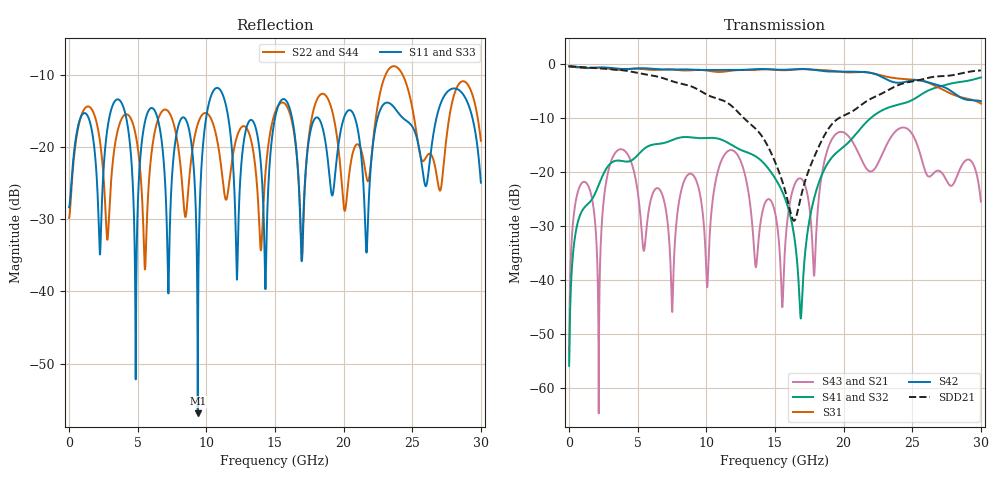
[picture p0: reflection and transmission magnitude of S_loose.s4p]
!diffpair-meanders S_loose (straight pair, 6 mm serpentine on P, folds 1.0 mm apart), mesh fine
!ports 1 P_near 2 N_near 3 P_far 4 N_far; openEMS FDTD, lumped 50 ohm ports
# Hz S RI R 50.0
! Port[1] = P_near
! Port[2] = N_near
! Port[3] = P_far
! Port[4] = N_far
!freq ReS11 ImS11 ReS12 ImS12 ReS13 ImS13
! ReS14 ImS14
! ReS21 ImS21 ReS22 ImS22 ReS23 ImS23
! ReS24 ImS24
! ReS31 ImS31 ReS32 ImS32 ReS33 ImS33
! ReS34 ImS34
! ReS41 ImS41 ReS42 ImS42 ReS43 ImS43
! ReS44 ImS44
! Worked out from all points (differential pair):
!   3000 points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, 10 MHz to 30 GHz, reference 50 ohm
!   strongest paths, dB at 10 MHz, 7.51 GHz, 15.01 GHz, 22.51 GHz, 30 GHz:
!     S42: -0.4, -1.0, -1.0, -2.1, -6.9
!     S31: -0.5, -1.0, -1.1, -2.0, -7.3
!     S41: -55.9, -14.1, -21.2, -9.0, -2.5
!     S32: -55.9, -14.1, -21.1, -9.0, -2.5
!     S43: -55.0, -45.9, -27.5, -18.4, -25.5
!     S21: -55.0, -45.9, -27.5, -18.4, -25.5
!   taken as a pair (ports 2,1 in; 4,3 out), SDD21 dB: -0.4, -3.2, -18.1, -5.8, -1.2
!   lowest |S11| = -56.9 dB at 9.38 GHz (marker M1), VSWR 1.00, Z = 50.1 + j0.0581 ohm
!   |S11| at or under -10 dB: start of sweep to end of sweep
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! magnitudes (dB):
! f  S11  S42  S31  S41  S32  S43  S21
! 10 MHz  -28.3  -0.4  -0.5  -55.9  -55.9  -55.0  -55.0
! 940 MHz  -15.5  -0.6  -0.7  -27.3  -27.3  -22.0  -22.0
! 9.38 GHz  -56.9  -1.1  -1.1  -13.7  -13.7  -22.4  -22.4
! 10.73 GHz  -11.8  -1.1  -1.5  -13.8  -13.7  -21.1  -21.1
! 16.89 GHz  -33.2  -0.9  -0.9  -47.1  -50.2  -21.2  -21.2
! 19.07 GHz  -25.8  -1.4  -1.2  -17.6  -17.6  -14.3  -14.3
! 30 GHz  -24.9  -6.9  -7.3  -2.5  -2.5  -25.5  -25.5
